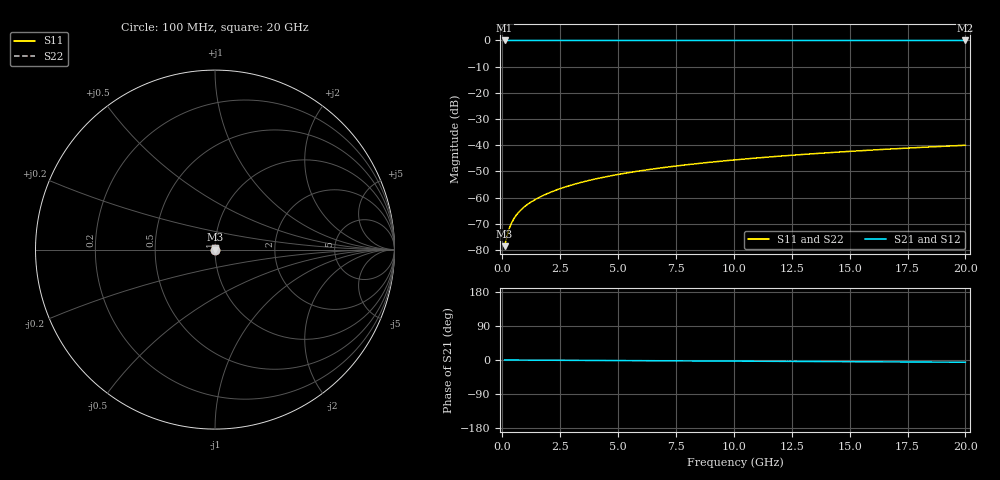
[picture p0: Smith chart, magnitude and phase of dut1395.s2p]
! Touchstone file exported from HFSS 2026.1.0
!  File:  C:/ffzhzh/LocalFiles/Ansys_Project_Files/temp_train_TSV_1395_1783196723_51560.aedt
!  Generated:  04:26:39 AM Jul  5, 2026
!  Design:  TSV
!  Project:  temp_train_TSV_1395_1783196723_51560
! Variables:
!  h_bsmrdl = 2um
!  h_ox = 20um
!  h_rdl = 5um
!  h_sub = 54.48um
!  h_tmrdl = 5um
!  h_tsv = 54.48um
!  h_via = 3um
!  l_bsmrdl = 300um
!  l_sub = 421.52um
!  l_tmrdl = 200um
!  m_sub = 200um
!  pitch = 47.42um
!  r_tsv = 10.76um
!  s_tmrdl = 10um
!  w_bsmrdl = 18um
!  w_sub = 500um
!  w_tmrdl = 12um
!  x_tsv_center1 = 206um
!  x_tsv_center2 = 524um
!  x_tsv_center3 = 736um
!  x_tsv_center4 = 1054um
!  x_tsv_center5 = 1266um
!  x_tsv_center6 = 1584um
# GHz S MA R 50.000000
! Terminal data exported
! Port[1] = TSV1_1_T1
! Port[2] = TSV1_1_T2
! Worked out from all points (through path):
!   200 points, 100 MHz to 20 GHz, reference 50 ohm
!   highest |S21| = 0.00 dB at 100 MHz (marker M1); lowest = 0.0 dB at 20 GHz (marker M2)
!   lowest |S11| = -78.6 dB at 100 MHz (marker M3), VSWR 1.00, Z = 50 + j0.00802 ohm
!   |S11| at or under -10 dB: start of sweep to end of sweep
!   |S22| runs from -78.6 to -40.0 dB; largest |S21 - S12| = 2.1e-15
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0.1  0.000118 42.8  0.9999 -0.0  0.9999 -0.0  0.000118 42.8
! Gamma 0 0 0 0
! Port Impedance 50 0 50 0
0.2  0.0001848 58.9  0.9999 -0.1  0.9999 -0.1  0.0001848 58.9
0.3  0.0002569 65.0  0.9999 -0.1  0.9999 -0.1  0.0002569 65.0
0.4  0.0003276 67.7  0.9999 -0.1  0.9999 -0.1  0.0003276 67.7
0.5  0.0003951 69.0  0.9999 -0.2  0.9999 -0.2  0.0003951 69.0
0.6  0.0004593 69.9  0.9998 -0.2  0.9998 -0.2  0.0004593 69.9
0.7  0.0005205 70.4  0.9998 -0.2  0.9998 -0.2  0.0005205 70.4
0.8  0.0005792 70.9  0.9998 -0.2  0.9998 -0.2  0.0005792 70.9
1  0.0006913 71.8  0.9998 -0.3  0.9998 -0.3  0.0006913 71.8
1.4  0.000905 73.5  0.9997 -0.4  0.9997 -0.4  0.000905 73.5
1.7  0.001062 74.7  0.9997 -0.5  0.9997 -0.5  0.001062 74.7
2  0.001219 75.6  0.9997 -0.6  0.9997 -0.6  0.001219 75.6
2.7  0.001584 77.2  0.9997 -0.8  0.9997 -0.8  0.001584 77.2
3.5  0.001999 78.3  0.9996 -1.0  0.9996 -1.0  0.001999 78.3
4.2  0.002358 78.9  0.9996 -1.3  0.9996 -1.3  0.002358 78.9
5  0.002764 79.3  0.9996 -1.5  0.9996 -1.5  0.002764 79.3
6.8  0.003661 79.8  0.9995 -2.0  0.9995 -2.0  0.003661 79.8
8.3  0.004397 80.0  0.9994 -2.5  0.9994 -2.5  0.004397 80.0
10.1  0.005271 80.1  0.9994 -3.0  0.9994 -3.0  0.005271 80.1
13.4  0.00686 80.0  0.9993 -4.0  0.9993 -4.0  0.00686 80.0
16.7  0.008432 79.5  0.9992 -4.9  0.9992 -4.9  0.008432 79.5
20  0.009982 78.9  0.9991 -5.9  0.9991 -5.9  0.009982 78.9
